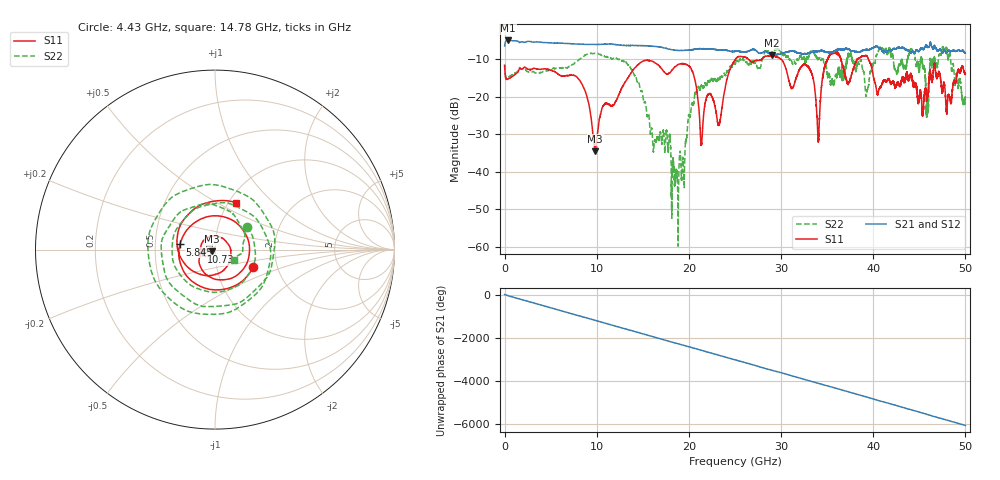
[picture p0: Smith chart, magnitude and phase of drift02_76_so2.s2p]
!Created with skrf (http://scikit-rf.org).
# Hz S RI R 50.0
!freq ReS11 ImS11 ReS21 ImS21 ReS12 ImS12 ReS22 ImS22
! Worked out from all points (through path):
!   10001 points, 300 kHz to 50 GHz, reference 50 ohm
!   highest |S21| = -5.04 dB at 375.3 MHz (marker M1); lowest = -9.0 dB at 29.01 GHz (marker M2)
!   group delay of S21, straight-line fit = 336 ps
!   lowest |S11| = -34.6 dB at 9.815 GHz (marker M3), VSWR 1.04, Z = 48.4 - j0.897 ohm
!   |S11| at or under -10 dB: start of sweep to 25.08 GHz; 29.97 GHz to 35.06 GHz (5.089 GHz wide, 15.6 % of centre); 39.48 GHz to end of sweep (the widest 3 of 5)
!   |S22| runs from -59.9 to -6.7 dB; largest |S21 - S12| = 0.023
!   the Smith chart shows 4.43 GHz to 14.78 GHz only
!   S11 on the Smith chart (normalised r, x): 4.43 GHz: 1.51, -0.31; 5.845 GHz: 0.67, +0.04; 10.73 GHz: 0.86, -0.02; 14.78 GHz: 1.08, +0.62
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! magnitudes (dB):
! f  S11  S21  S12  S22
! 300 kHz  -11.7  -6.5  -6.4  -11.5
! 375.3 MHz  -15.3  -5.0  -5.0  -14.9
! 4.43 GHz  -12.6  -5.6  -5.6  -13.3
! 5.845 GHz  -14.1  -5.7  -5.7  -12.5
! 8.335 GHz  -16.4  -6.0  -6.0  -9.6
! 9.815 GHz  -34.6  -6.1  -6.1  -8.5
! 10.73 GHz  -22.4  -6.1  -6.1  -9.2
! 14.78 GHz  -10.9  -6.4  -6.4  -18.5
! 16.67 GHz  -11.6  -6.7  -6.7  -31.3
! 18.66 GHz  -11.8  -7.7  -7.6  -39.4
! 20.37 GHz  -13.3  -7.5  -7.5  -21.9
! 21.37 GHz  -32.3  -7.2  -7.2  -16.9
! 23.31 GHz  -27.3  -7.5  -7.6  -15.6
! 25 GHz  -10.3  -7.9  -8.0  -11.2
! 29.01 GHz  -9.1  -9.0  -9.0  -8.2
! 33.34 GHz  -13.9  -8.0  -8.2  -8.0
! 34.02 GHz  -31.8  -7.9  -7.9  -10.3
! 35.54 GHz  -8.3  -8.2  -8.2  -15.3
! 41.67 GHz  -15.3  -7.7  -7.7  -7.5
! 45.87 GHz  -20.4  -6.9  -6.9  -24.3
! 47.77 GHz  -17.5  -7.6  -7.6  -7.7
! 50 GHz  -14.0  -8.4  -8.4  -20.2
